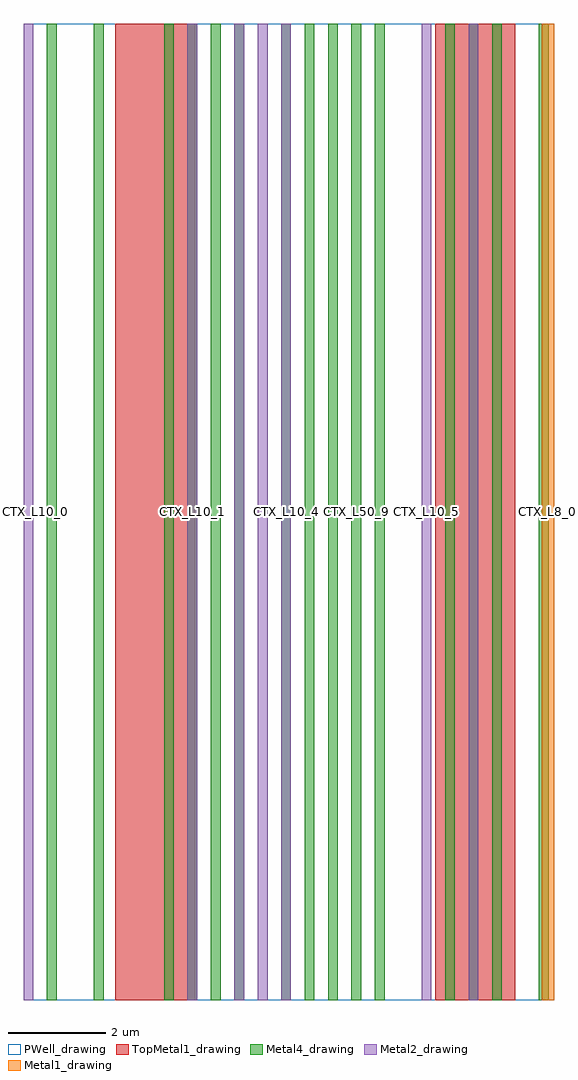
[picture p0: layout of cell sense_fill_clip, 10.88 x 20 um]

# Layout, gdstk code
import gdstk
lib = gdstk.Library(unit=1e-6, precision=1e-09)
def R(c, l, rs):  # rectangles x0, y0, x1, y1
    for r in rs: c.add(gdstk.rectangle(r[:2], r[2:], *l))
def A(c, l, x, y, w, h, nx, ny, dx, dy):  # array of equal rectangles
    R(c, l, [(x+i*dx, y+j*dy, x+i*dx+w, y+j*dy+h) for i in range(nx) for j in range(ny)])
Metal1_drawing = (8, 0)
Metal2_drawing = (10, 0)
PWell_drawing = (46, 0)
Metal4_drawing = (50, 0)
TopMetal1_drawing = (126, 0)

sense_fill_clip = lib.new_cell('sense_fill_clip')
R(sense_fill_clip, Metal1_drawing, [(737.72,695.81,737.98,715.81)])
A(sense_fill_clip, Metal2_drawing, 731.42, 695.81, 0.2, 20, 3, 1, 0.48, 0)
R(sense_fill_clip, Metal2_drawing, [(727.1,695.81,727.3,715.81), (730.46,695.81,730.66,715.81), (735.26,695.81,735.46,715.81), (736.22,695.81,736.42,715.81)])
R(sense_fill_clip, PWell_drawing, [(727.1,695.81,737.98,715.81), (727.1,695.81,737.98,715.81)])
A(sense_fill_clip, Metal4_drawing, 729.98, 695.81, 0.2, 20, 4, 1, 0.48, 0)
A(sense_fill_clip, Metal4_drawing, 732.38, 695.81, 0.2, 20, 5, 1, 0.48, 0)
A(sense_fill_clip, Metal4_drawing, 735.74, 695.81, 0.2, 20, 3, 1, 0.48, 0)
R(sense_fill_clip, Metal4_drawing, [(727.58,695.81,727.78,715.81), (728.54,695.81,728.74,715.81), (737.66,695.81,737.86,715.81)])
R(sense_fill_clip, TopMetal1_drawing, [(728.98,695.81,730.62,715.81), (735.54,695.81,737.18,715.81)])
sense_fill_clip.add(gdstk.Label('CTX_L8_0', (737.85,705.81), layer=8, texttype=25))
sense_fill_clip.add(gdstk.Label('CTX_L10_4', (732.48,705.81), layer=10, texttype=25))
sense_fill_clip.add(gdstk.Label('CTX_L10_5', (735.36,705.81), layer=10, texttype=25))
sense_fill_clip.add(gdstk.Label('CTX_L10_3', (732,705.81), layer=10, texttype=25))
sense_fill_clip.add(gdstk.Label('CTX_L10_2', (731.52,705.81), layer=10, texttype=25))
sense_fill_clip.add(gdstk.Label('CTX_L10_1', (730.56,705.81), layer=10, texttype=25))
sense_fill_clip.add(gdstk.Label('CTX_L10_6', (736.32,705.81), layer=10, texttype=25))
sense_fill_clip.add(gdstk.Label('CTX_L10_0', (727.2,705.81), layer=10, texttype=25))
sense_fill_clip.add(gdstk.Label('CTX_L50_14', (737.76,705.81), layer=50, texttype=25))
sense_fill_clip.add(gdstk.Label('CTX_L50_13', (736.8,705.81), layer=50, texttype=25))
sense_fill_clip.add(gdstk.Label('CTX_L50_10', (734.4,705.81), layer=50, texttype=25))
sense_fill_clip.add(gdstk.Label('CTX_L50_0', (727.68,705.81), layer=50, texttype=25))
sense_fill_clip.add(gdstk.Label('CTX_L50_1', (728.64,705.81), layer=50, texttype=25))
sense_fill_clip.add(gdstk.Label('CTX_L50_2', (730.08,705.81), layer=50, texttype=25))
sense_fill_clip.add(gdstk.Label('CTX_L50_3', (730.56,705.81), layer=50, texttype=25))
sense_fill_clip.add(gdstk.Label('CTX_L50_4', (731.04,705.81), layer=50, texttype=25))
sense_fill_clip.add(gdstk.Label('CTX_L50_8', (733.44,705.81), layer=50, texttype=25))
sense_fill_clip.add(gdstk.Label('CTX_L50_5', (731.52,705.81), layer=50, texttype=25))
sense_fill_clip.add(gdstk.Label('N', (732.48,705.81), layer=50, texttype=25))
sense_fill_clip.add(gdstk.Label('P', (732.96,705.81), layer=50, texttype=25))
sense_fill_clip.add(gdstk.Label('CTX_L50_9', (733.92,705.81), layer=50, texttype=25))
sense_fill_clip.add(gdstk.Label('CTX_L50_11', (735.84,705.81), layer=50, texttype=25))
sense_fill_clip.add(gdstk.Label('CTX_L50_12', (736.32,705.81), layer=50, texttype=25))
sense_fill_clip.add(gdstk.Label('CTX_L126_1', (736.36,705.81), layer=126, texttype=25))
sense_fill_clip.add(gdstk.Label('CTX_L126_0', (729.8,705.81), layer=126, texttype=25))

lib.write_gds('sense_fill_clip.gds')
